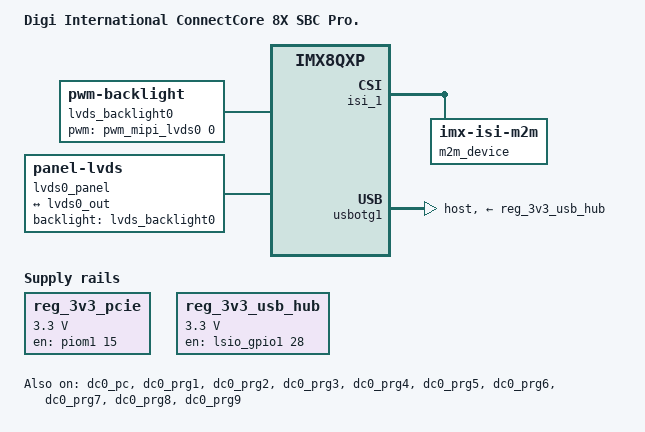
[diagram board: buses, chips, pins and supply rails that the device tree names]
/*
 * Copyright 2018-2020 Digi International Inc.
 *
 * Permission to use, copy, modify, and/or distribute this software for any
 * purpose with or without fee is hereby granted, provided that the above
 * copyright notice and this permission notice appear in all copies.
 * THE SOFTWARE IS PROVIDED "AS IS" AND THE AUTHOR DISCLAIMS ALL WARRANTIES
 * WITH REGARD TO THIS SOFTWARE INCLUDING ALL IMPLIED WARRANTIES OF
 * MERCHANTABILITY AND FITNESS. IN NO EVENT SHALL THE AUTHOR BE LIABLE FOR
 * ANY SPECIAL, DIRECT, INDIRECT, OR CONSEQUENTIAL DAMAGES OR ANY DAMAGES
 * WHATSOEVER RESULTING FROM LOSS OF USE, DATA OR PROFITS, WHETHER IN AN
 * ACTION OF CONTRACT, NEGLIGENCE OR OTHER TORTIOUS ACTION, ARISING OUT OF
 * OR IN CONNECTION WITH THE USE OR PERFORMANCE OF THIS SOFTWARE.
 */

/ {
	model = "Digi International ConnectCore 8X SBC Pro.";
	compatible = "digi,ccimx8x-sbc-pro", "digi,ccimx8x", "fsl,imx8qxp";
	digi,machine,name = "ccimx8x-sbc-pro";

	chosen {
		stdout-path = &lpuart2;
	};
	
	
	/*
	NOTE: USB3.x TypeC-MUX is NOT used with WICC!
	cbtl04gp {
		compatible = "nxp,cbtl04gp";
		pinctrl-names = "default";
		pinctrl-0 = <&pinctrl_typec_mux>;
		switch-gpios = <&lsio_gpio4 6 GPIO_ACTIVE_LOW>;
		orientation-switch;

		port {
			usb3_data_ss: endpoint {
				remote-endpoint = <&typec_con_ss>;
			};
		};
	};
	*/
	
	
	lvds_backlight0: lvds_backlight@0 {
		compatible = "pwm-backlight";
		pwms = <&pwm_mipi_lvds0 0 100000 0>;

		brightness-levels = < 0  1  2  3  4  5  6  7  8  9
				     10 11 12 13 14 15 16 17 18 19
				     20 21 22 23 24 25 26 27 28 29
				     30 31 32 33 34 35 36 37 38 39
				     40 41 42 43 44 45 46 47 48 49
				     50 51 52 53 54 55 56 57 58 59
				     60 61 62 63 64 65 66 67 68 69
				     70 71 72 73 74 75 76 77 78 79
				     80 81 82 83 84 85 86 87 88 89
				     90 91 92 93 94 95 96 97 98 99
				    100>;
		default-brightness-level = <80>;
		//power-supply = <&reg_5v_display>;			// TODO: check it up - is this REQUIRED??
		status = "okay";
	};

	/* TODO: check parameters!! Needs adjustment for size, timings etc??? */
	lvds0_panel: lvds0_panel@0 {
		compatible = "panel-lvds";
		backlight = <&lvds_backlight0>;
		//power-supply = <&reg_5v_display>;
		width-mm = <216>;
		height-mm = <135>;
		data-mapping = "jeida-18";
		status = "okay";

		port {
			panel_lvds0_in: endpoint {
				remote-endpoint = <&lvds0_out>;
			};
		};

		/* TODO: set up corresponding to ELO-display!!  */
		panel-timing {
			clock-frequency = <68930000>;
			hactive = <1280>;
			vactive = <800>;
			hfront-porch = <120>;
			hback-porch = <0>;
			hsync-len = <8>;
			vback-porch = <10>;
			vfront-porch = <0>;
			vsync-len = <6>;
			hsync-active = <1>;
			vsync-active = <1>;
		};
	};


	regulators {
		compatible = "simple-bus";
		#address-cells = <1>;
		#size-cells = <0>;

		/* PCIe mini card regulator, disabled by default */
		reg_3v3_pcie: regulator@6 {
			compatible = "regulator-fixed";
			reg = <6>;
			regulator-name = "vcc";
			regulator-min-microvolt = <3300000>;
			regulator-max-microvolt = <3300000>;
			gpio = <&piom1 15 GPIO_ACTIVE_HIGH>;       /* "LTE_PWR_ENABLE" signal on HV board --> GPB7 (=PIOM1.15) on MCP23018 GPIO-expander. */
			enable-active-high;
			startup-delay-us = <100000>;
		};

		reg_3v3_usb_hub: regulator@7 {
			compatible = "regulator-fixed";
			reg = <7>;
			pinctrl-names = "default";
			pinctrl-0 = <&pinctrl_reg_3v3_usb_hub>;
			regulator-name = "3v3_usb_hub";
			regulator-min-microvolt = <3300000>;
			regulator-max-microvolt = <3300000>;
			gpio = <&lsio_gpio1 28 GPIO_ACTIVE_HIGH>;
			enable-active-high;
			//vin-supply = <&reg_3v3_ext>;	// NOTE: no other 3.3V-supply than the main 3.3V - no regulator in-between!!
		};

	};

};


/*
 * FlexSPI port distributed among various interfaces.
 * Conflicts with:
 * - PCIE connector
 * - FEC1
 * - FEC2
 * - RS485
 * - CAN2
 * - MIPI camera
 * - HDMI display
 * - LVDS0 display touch controller
 * - LVDS1 display touch controller
 */
&flexspi0 {
	status = "disabled";	// TODO: check pinctrl-def!!
};



/* I2C3 connected to MCP23018 GPIO-expander. */
&i2c3 {
	#address-cells = <1>;
	#size-cells = <0>;
	clock-frequency = <100000>;                     /* TODO: assess - could possibly be raised to 400000??? */
	pinctrl-names = "default";
	pinctrl-0 = <&pinctrl_lpi2c3>;
	status = "disabled";
	
	/* Microchip MCP23018 16-bit GPIO-expander connected to I2C3 bus on address=0x27 ('ADDR'-pin connected to Vcc=3.3V --> effective address = 0x20 + 0x07) : */
	piom1: gpio@27 {
		compatible = "microchip,mcp23018";          /* REF: "Documentation/devicetree/bindings/pinctrl/pinctrl-mcp23s08.txt" in kernel source. */
		gpio-controller;
		#gpio-cells = <2>;                          /* NOTE: 2x GPIO-entities --> will end up as 'gpiochip10' and 'gpiochip11'. */
		reg = <0x27>;                               /* NOTE: I2C-addess of MCP23018 0x20 + <ADDR-pin setting>, with ADD-pin=Vcc=3.3V, this becomes 0x7 and addr = 0x20 + 0x7 = 0x27 */
		reset-gpios = <&lsio_gpio3 15 GPIO_ACTIVE_LOW>;  
		/*
		interrupt-parent = <&gpio1>;                NOTE: IRQs from MCP23018 are NOT used! (a.t.m.)
		interrupts = <17 IRQ_TYPE_LEVEL_LOW>;       This setting would mean GPIO1.17 were used as IRQ-input on i.MX8X.
		interrupt-controller;
		#interrupt-cells=<2>;                       2x IRQs from MCP23018 --> 'INTA' and 'INTB', one for each GPIO-bank respectively (GPIOA<n>, GPIOB<n>).
		microchip,irq-mirror;
		*/
		pinctrl-0 = <&gpio23018pullups>;
        	/* Pull-up on EVERY pin: */
        	gpio23018pullups: pinmux {
            	pins = "gpio0", "gpio1", "gpio2", "gpio3",
            	"gpio4", "gpio5", "gpio6", "gpio7",
            	"gpio8", "gpio9", "gpio10", "gpio11",
            	"gpio12", "gpio13", "gpio14", "gpio15";
            	bias-pull-up;
        	};
	};
};



/******************** Camera sensor co-processor ********************/

&isi_1 {
	interface = <2 0 2>;	/* INPUT: 2-MIPI CSI0 */
	cap_device {
		status = "okay";
	};
	m2m_device{
		compatible = "imx-isi-m2m";
		status = "okay";
	};
};

&isi_2 {
	interface = <2 0 2>;
	cap_device {
		status = "okay";
	};
};

&isi_3 {
	interface = <2 0 2>;
	cap_device {
		status = "okay";
	};
};


/***************************** MIPI-DSI serial display interface. NOTE: only DSI0 ('LVDS0') used!! *******************************/

&ldb1 {
	pinctrl-names = "default";
	//pinctrl-0 = <&pinctrl_lvds0>;     // NOTE: not used!!
	status = "disabled";

	lvds0: lvds-channel@0 {
		fsl,data-mapping = "jeida";
		fsl,data-width = <24>;
		digi,bits-per-pixel = <16>;
		status = "disabled";

		port@1 {
			reg = <1>;

			lvds0_out: endpoint {
				remote-endpoint = <&panel_lvds0_in>;
			};
		};
	};
};

&ldb1_phy {
	status = "disabled";
};

&mipi0_dsi_host {
	status = "disabled";

	ports {
		port@1 {
			reg = <1>;
			mipi0_dsi_out: endpoint {
				//remote-endpoint = <&lt8912_0_in>;	// NOTE: HDMI-adapter device --> NOT in use on WICC!! (TODO: check side-effects!)
			};
		};
	};
};


/********************************** Serial Interfaces (I2C, SPI, UART) **************************************/

/* LPSPI2 - used for Tricolor-LED: */
&lpspi2 {
	#address-cells = <1>;
	#size-cells = <0>;
	num-cs = <1>;
	//cs-gpios = <&lsio_gpio1 8 GPIO_ACTIVE_LOW>, <&lsio_gpio1 7 GPIO_ACTIVE_LOW>;	// TODO: check if NO 'cs-gpios' declared is LEGAL!!
	pinctrl-names = "default";
	pinctrl-0 = <&pinctrl_lpspi2>;
	status = "disabled";
};


/* LPSPI3 - used for NFC: */
&lpspi3 {
	#address-cells = <1>;
	#size-cells = <0>;
	num-cs = <1>;
	//cs-gpios = <&lsio_gpio1 8 GPIO_ACTIVE_LOW>;	// TODO: check if this is to be used if DEDICATED 'ChipSelects' are used!!
	pinctrl-names = "default";
	pinctrl-0 = <&pinctrl_lpspi3>;
	status = "disabled";
};


/* LPUART0 on expansion header */
&lpuart0 {
	/* RTS/CTS lines multiplexed with CAN0 */
	pinctrl-names = "default";
	pinctrl-0 = <&pinctrl_lpuart0_2wires>;	// NOTE: only TxD and RxD signals available!
	status = "disabled";
};


/* Console */
&lpuart2 {
	pinctrl-names = "default";
	pinctrl-0 = <&pinctrl_lpuart2>;
	status = "disabled";
};


/* TODO: check WHY this is commented out!(???) */
/*&pd_dma_lpuart2 {
	debug_console;
};*/

&dc0_pc {
	status = "okay";
};

&dc0_prg1 {
	status = "okay";
};

&dc0_prg2 {
	status = "okay";
};

&dc0_prg3 {
	status = "okay";
};

&dc0_prg4 {
	status = "okay";
};

&dc0_prg5 {
	status = "okay";
};

&dc0_prg6 {
	status = "okay";
};

&dc0_prg7 {
	status = "okay";
};

&dc0_prg8 {
	status = "okay";
};

&dc0_prg9 {
	status = "okay";
};

/*
 * Remove MCA PWM node that uses MCA_IO5 and MCA_IO6 pads, since these lines
 * are being used as GPIOs for enabling voltage regulators on SBC Pro board.

// NOTE: NO regulators controlled by MCA-GPIOS in WICC!
// /delete-node/ &{/i2c@5a800000/mca@63/pwms/pwm@1};
*/


/* USB_OTG1 connected to usb hub */
&usbotg1 {
	pinctrl-names = "default";
	pinctrl-0 = <&pinctrl_usbotg1>;

	vbus-supply = <&reg_3v3_usb_hub>;                        // Supply goes through VREG-driver - so pin-controls need NOT be referred directly here! (i.e. 'pinctrl_reg_3v3_usb_hub')
	fsl,reset-gpio = <&lsio_gpio3 13 GPIO_ACTIVE_LOW>;       // GPIO3_13 = "USB_RESET" to hub --> was GPIO1_3 on BaseUnit.
	dr_mode = "host";                                        // NOTE: set to 'peripheral' if device-mode, or 'otg' if OTG-mode (i.e. dual-mode)!
	maximum-speed = "high-speed";                            // Typically NOT necessary to set ...
	disable-over-current;
	status = "okay";
};



/*********************** Micro SD card ********************************/
&usdhc2 {
	pinctrl-names = "default", "state_100mhz", "state_200mhz";
	pinctrl-0 = <&pinctrl_usdhc2>, <&pinctrl_usdhc2_gpio>;
	pinctrl-1 = <&pinctrl_usdhc2_100mhz>, <&pinctrl_usdhc2_gpio>;
	pinctrl-2 = <&pinctrl_usdhc2_200mhz>, <&pinctrl_usdhc2_gpio>;
	bus-width = <4>;
	no-1-8-v;
	//cd-gpios = <&lsio_gpio4 22 GPIO_ACTIVE_HIGH>;   /* 'CardDetect' on USDHC1_CD_B is used for mPCIe-socket GPIO! */
	non-removable;                                    /* NOTE: SDcard-slot on BaseUnit has neither 'CD'-pin, nor a release-latch, and is to be considered 'non-removable'! */
	status = "disabled";
};

/* IOMUX - setup for peripherals. NOTE: do NOT mess up with pins which do NOT use IOMUXC-registers - e.g. GPIO-expander pins etc!! */
&iomuxc {
	/* SPI2 pin-muxing --> used for tricolor-LED control. (pinmux=2) NOTE: neither SDI-signal nor ChipSelects are available! */
	pinctrl_lpspi2: lpspi2grp {
		fsl,pins = <
			IMX8QXP_USDHC1_RESET_B_ADMA_SPI2_SCK	0x1600004c
			IMX8QXP_USDHC1_VSELECT_ADMA_SPI2_SDO	0x1600004c
		>;
	};
	
    /* SPI3 pin-multiplexing --> used for NFC-transceiver interfacing. pinmux=0 for all I/Os used. */
	pinctrl_lpspi3: lpspi3grp {
		fsl,pins = <
			IMX8QXP_SPI3_SCK_ADMA_SPI3_SCK	0x0600004c
			IMX8QXP_SPI3_SDO_ADMA_SPI3_SDO	0x0600004c
			IMX8QXP_SPI3_SDI_ADMA_SPI3_SDI	0x0600004c
			IMX8QXP_SPI3_CS0_ADMA_SPI3_CS0	0x0600004c	/* Dedicated CS-line --> no need to declare 'cs-gpio' property!(no???) */
		>;
	};
	
	pinctrl_lpuart0_2wires: lpuart0grp_2wires {
		fsl,pins = <
			IMX8QXP_UART0_TX_ADMA_UART0_TX		0x06000020	/* Pinmux = 0. */
			IMX8QXP_UART0_RX_ADMA_UART0_RX		0x06000020	/* Pinmux = 0. */
		>;
	};

	pinctrl_lpuart2: lpuart2grp {
		fsl,pins = <
			IMX8QXP_UART2_TX_ADMA_UART2_TX	0x06000020
			IMX8QXP_UART2_RX_ADMA_UART2_RX	0x06000020
		>;
	};

	pinctrl_lpi2c0: lpi2c0grp {
		fsl,pins = <
			IMX8QXP_MIPI_DSI0_I2C0_SCL_MIPI_DSI0_I2C0_SCL	0x06000020      /* pinmux=0 */
			IMX8QXP_MIPI_DSI0_I2C0_SDA_MIPI_DSI0_I2C0_SDA	0x06000020      /* pinmux=0 */
		>;
	};

	pinctrl_lpi2c3: lpi2c3grp {
		fsl,pins = <
			IMX8QXP_SPI3_CS1_ADMA_I2C3_SCL	0x06000020      /* TODO: check if pinmux=0 (as used here) is correct!! Should be pinmux=1 ??? */
			IMX8QXP_MCLK_IN1_ADMA_I2C3_SDA	0x06000020      /* TODO: check if pinmux=0 (as used here) is correct!! Should be pinmux=1 ??? */
		>;
	};

	/* PCIE (Mini Card) --> nDISABLE = IMX8QXP_MIPI_DSI1_GPIO0_01_LSIO_GPIO2_IO00  w. IOMUX=0x26000060 */
	pinctrl_pcieb_mini_card: pcieagrp_mini_card {
		fsl,pins = <
			/* PCIE_RESET_N */
			IMX8QXP_USDHC1_WP_LSIO_GPIO4_IO21		0x26000021    /* GPIO4_21 in ALT4-mode --> unchanged from BaseUnit design. */
			/* PCIE_DIS_N */
			IMX8QXP_MIPI_DSI1_GPIO0_01_LSIO_GPIO2_IO00	0x26000021     /* Was: 0x26000061. GPIO2_0 in ALT4-mode --> unchanged from BaseUnit design. */
			/* PCIE_WAKE_N --> */
			IMX8QXP_SCU_GPIO0_01_SCU_GPIO0_IO01		0x04000021     /* GPIO0_1 in ALT0-mode --> unchanged from BaseUnit design. */
		>;
	};

	/* TODO: check if vreg for PCIe is used at all! (WiFi internally??) */
	pinctrl_reg_3v3_pcie: reg_3v3_pcie_grp {
		/* Used to be GPIO4_22 - but this is used for 'NFC_IRQ_IN' signal. */
		pins = <&piom1 15 GPIO_ACTIVE_HIGH>;   /* Instead use GPIO-expander pin GPB7 = IO10_15 --> active HIGH */
	};


	pinctrl_reg_3v3_pcie_sleep: reg_3v3_pcie_sleep_grp {
		/* Used to be GPIO4_22 (with different PAD-setting) - but this is used for 'NFC_IRQ_IN' signal. */
		pins = <&piom1 15 GPIO_ACTIVE_LOW>;   /* Instead use GPIO-expander pin GPB7 = IO10_15--> active LOW */
	};

    /******************** USB (USBOTG1) ***********************/
    
	pinctrl_reg_3v3_usb_hub: reg_3v3_usb_hub_grp {
		fsl,pins = <
			/* GPIO1_28 (MUX=ALT4) is USB hub power enable, 'USB_EN' (= 'USB_PWR_EN') */
			IMX8QXP_MIPI_DSI0_GPIO0_01_LSIO_GPIO1_IO28		0x26000020              
		>;
	};

	pinctrl_usbotg1: usbotg1grp {
		fsl,pins = <
			/* USB hub reset (MUX=ALT4) is GPIO3_13. */
			IMX8QXP_QSPI0A_DQS_LSIO_GPIO3_IO13		0x26000020
		>;
	};

	pinctrl_usdhc2_gpio: usdhc2gpiogrp {
		fsl,pins = <
			/* Card detect */
			// IMX8QXP_USDHC1_CD_B_LSIO_GPIO4_IO22	0x06000021     /* NOTE: CardDetect is NOT used for BaseUnit SDcard-slot! (and GPIO is used for PCIe_ENABLE-signal) */
		>;
	};

    /* USDHC2 controller instance = internal eMMC --> so 'pinctrl_usdhc2(_nnn)' here is actually a misnomer! Below is pin-ctrl for the USDHC1 controller, but it's the second SDHC driver-instance. */
	pinctrl_usdhc2: usdhc2grp {
		fsl,pins = <
			IMX8QXP_USDHC1_CLK_CONN_USDHC1_CLK		0x06000041
			IMX8QXP_USDHC1_CMD_CONN_USDHC1_CMD		0x00000021
			IMX8QXP_USDHC1_DATA0_CONN_USDHC1_DATA0	0x00000021
			IMX8QXP_USDHC1_DATA1_CONN_USDHC1_DATA1	0x00000021
			IMX8QXP_USDHC1_DATA2_CONN_USDHC1_DATA2	0x00000021
			IMX8QXP_USDHC1_DATA3_CONN_USDHC1_DATA3	0x00000021
		>;
	};

    /* NOTE: all thre configs are identical below, but sometimes 50MHz-config is different from 100MHz, 200MHz etc. */
	pinctrl_usdhc2_100mhz: usdhc2grp100mhz {
		fsl,pins = <
			IMX8QXP_USDHC1_CLK_CONN_USDHC1_CLK		0x06000041
			IMX8QXP_USDHC1_CMD_CONN_USDHC1_CMD		0x00000021
			IMX8QXP_USDHC1_DATA0_CONN_USDHC1_DATA0	0x00000021
			IMX8QXP_USDHC1_DATA1_CONN_USDHC1_DATA1	0x00000021
			IMX8QXP_USDHC1_DATA2_CONN_USDHC1_DATA2	0x00000021
			IMX8QXP_USDHC1_DATA3_CONN_USDHC1_DATA3	0x00000021
		>;
	};

	pinctrl_usdhc2_200mhz: usdhc2grp200mhz {
		fsl,pins = <
			IMX8QXP_USDHC1_CLK_CONN_USDHC1_CLK		0x06000041
			IMX8QXP_USDHC1_CMD_CONN_USDHC1_CMD		0x00000021
			IMX8QXP_USDHC1_DATA0_CONN_USDHC1_DATA0	0x00000021
			IMX8QXP_USDHC1_DATA1_CONN_USDHC1_DATA1	0x00000021
			IMX8QXP_USDHC1_DATA2_CONN_USDHC1_DATA2	0x00000021
			IMX8QXP_USDHC1_DATA3_CONN_USDHC1_DATA3	0x00000021
		>;
	};

};



